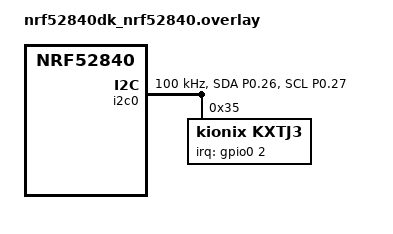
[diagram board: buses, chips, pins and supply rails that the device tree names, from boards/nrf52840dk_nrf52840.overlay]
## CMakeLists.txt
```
#
# Copyright (c) 2024  Callender Consulting LLC
#
# SPDX-License-Identifier: Apache-2.0
#
cmake_minimum_required(VERSION 3.20.)

set(BOARD xiao_ble)

find_package(Zephyr REQUIRED HINTS $ENV{ZEPHYR_BASE})
project(kxtj3_demo)

add_subdirectory(drivers)

include_directories(app PRIVATE src boards)

FILE(GLOB app_sources src/*.c)

target_sources(app PRIVATE ${app_sources})

zephyr_compile_options(-save-temps)
```

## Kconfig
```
# Copyright (c) 2024 Callender Consulting LLC
# SPDX-License-Identifier: Apache-2.0
#
rsource "drivers/Kconfig"
source "Kconfig.zephyr"
```

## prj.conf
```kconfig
CONFIG_DEBUG_OPTIMIZATIONS=y
CONFIG_STDOUT_CONSOLE=y
CONFIG_CBPRINTF_FP_SUPPORT=y

CONFIG_I2C=y

CONFIG_SENSOR=y
CONFIG_OUT_OF_TREE_SENSOR=y

CONFIG_KXTJ3=y
CONFIG_KXTJ3_MODE_DATA=y
#CONFIG_KXTJ3_MODE_ANYMODE=y
CONFIG_KXTJ3_TRIGGER_THREAD=y

CONFIG_USB_DEVICE_VID=0x2886
CONFIG_USB_DEVICE_PID=0xFFF0

#------------------------------------------------
# Logging interface: UART or RTT.
#
CONFIG_USE_SEGGER_RTT=y
CONFIG_SEGGER_RTT_MAX_NUM_UP_BUFFERS=5
CONFIG_SEGGER_RTT_MAX_NUM_DOWN_BUFFERS=5
CONFIG_SEGGER_RTT_BUFFER_SIZE_UP=2048
CONFIG_SEGGER_RTT_BUFFER_SIZE_DOWN=16
CONFIG_SEGGER_RTT_PRINTF_BUFFER_SIZE=64
CONFIG_SEGGER_RTT_MODE_NO_BLOCK_SKIP=y

CONFIG_LOG=y
CONFIG_LOG_DEFAULT_LEVEL=3
CONFIG_LOG_OVERRIDE_LEVEL=0
CONFIG_LOG_MAX_LEVEL=4
CONFIG_LOG_FUNC_NAME_PREFIX_DBG=y
CONFIG_LOG_PRINTK=y
CONFIG_LOG_MODE_OVERFLOW=y
CONFIG_LOG_PROCESS_TRIGGER_THRESHOLD=30
CONFIG_LOG_PROCESS_THREAD=y
CONFIG_LOG_PROCESS_THREAD_SLEEP_MS=1000
CONFIG_LOG_PROCESS_THREAD_STACK_SIZE=768
CONFIG_LOG_BUFFER_SIZE=2048
CONFIG_LOG_DOMAIN_ID=0

CONFIG_LOG_BACKEND_RTT=y
CONFIG_LOG_BACKEND_RTT_MODE_DROP=y
CONFIG_LOG_BACKEND_RTT_BUFFER=0
CONFIG_LOG_BACKEND_SHOW_COLOR=y
CONFIG_LOG_BACKEND_RTT_MESSAGE_SIZE=128

CONFIG_LOG_BACKEND_UART=n
CONFIG_LOG_BACKEND_FORMAT_TIMESTAMP=n
CONFIG_LOG_BACKEND_SHOW_COLOR=n
```

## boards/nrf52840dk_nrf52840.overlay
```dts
/*
 * SPDX-License-Identifier: Apache-2.0
 *
 * Copyright (c) 2024 Callender Consulting LLC
 */

#if 0
#include <kxtj3_dt_bindings.h>
#else
/* GPIO interrupt configuration */
#define KXTJ3_DT_GPIO_INT_EDGE             0
#define KXTJ3_DT_GPIO_INT_EDGE_RISING      1
#define KXTJ3_DT_GPIO_INT_EDGE_FALLING     2
#define KXTJ3_DT_GPIO_INT_LEVEL_HIGH       3
#define KXTJ3_DT_GPIO_INT_LEVEL_LOW        4

/* Any Motion mode */
#define KXTJ3_DT_ANYM_OR_COMBINATION       0
#define KXTJ3_DT_ANYM_6D_MOVEMENT          1
#define KXTJ3_DT_ANYM_AND_COMBINATION      2
#define KXTJ3_DT_ANYM_6D_POSITION          3
#endif

&pinctrl {
    i2c0_default: i2c0_default {
        group1 {
            psels = <NRF_PSEL(TWIM_SDA, 0, 26)>,
                    <NRF_PSEL(TWIM_SCL, 0, 27)>;
        };
    };

    i2c0_sleep: i2c0_sleep {
        group1 {
            psels = <NRF_PSEL(TWIM_SDA, 0, 26)>,
                    <NRF_PSEL(TWIM_SCL, 0, 27)>;
            low-power-enable;
        };
    };
};


arduino_i2c: &i2c0 {
    compatible = "nordic,nrf-twi";
    status = "okay";
    pinctrl-0 = <&i2c0_default>;
    pinctrl-1 = <&i2c0_sleep>;
    pinctrl-names = "default", "sleep";
    clock-frequency = <I2C_BITRATE_STANDARD>;

    kxtj3: kxtj3@35 {
        status = "okay";
        compatible = "kionix,kxtj3";
        reg = <0x35>;
        #io-channel-cells = <1>;
        #address-cells = <1>;
        #size-cells = <0>;
        irq-gpios = <&gpio0 2 0>;
        anym-on-int;
        anym-mode = <KXTJ3_DT_ANYM_6D_MOVEMENT>;
    };
};
```

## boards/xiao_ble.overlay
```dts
/*
 * SPDX-License-Identifier: Apache-2.0
 *
 * Copyright (c) 2024 Callender Consulting LLC
 */

#include "kxtj3_dt_symbols.h"

&pinctrl {
    i2c0_default: i2c0_default {
        group1 {
            psels = <NRF_PSEL(TWIM_SDA, 0, 4)>,
                    <NRF_PSEL(TWIM_SCL, 0, 5)>;
                    bias-pull-up;
        };
    };

    i2c0_sleep: i2c0_sleep {
        group1 {
            psels = <NRF_PSEL(TWIM_SDA, 0, 4)>,
                    <NRF_PSEL(TWIM_SCL, 0, 5)>;
            low-power-enable;
        };
    };
};


arduino_i2c: &i2c0 {
    compatible = "nordic,nrf-twi";
    status = "okay";
    pinctrl-0 = <&i2c0_default>;
    pinctrl-1 = <&i2c0_sleep>;
    pinctrl-names = "default", "sleep";
    clock-frequency = <I2C_BITRATE_STANDARD>;

    kxtj3: kxtj3@e {
        status = "okay";
        compatible = "kionix,kxtj3";
        reg = <0xe>;
        #io-channel-cells = <1>;
        #address-cells = <1>;
        #size-cells = <0>;
        accel-rate = <KXTJ3_DT_ODR_1p563_HZ>;
        accel-mode = <KXTJ3_DT_ACCEL_MODE_2G_12BIT>;
#if defined(CONFIG_KXTJ3_MODE_DATA)
        irq-gpios = <&gpio0 29 0>;
#else
        irq-gpios = <&gpio0 28 0>;
#endif
        int-gpio-config = <KXTJ3_DT_GPIO_INT_LEVEL_HIGH>;
#if defined(CONFIG_KXTJ3_MODE_ANYMODE)
        anymotion-on-int;
        anymotion-latch;
        anymotion-rate = <KXTJ3_DT_ANYMOTION_RATE_6p25_HZ>;
        anymotion-counter = <3>;
        anymotion-threshold = <512>;
#endif
    };

    /* 
     *  Alternate "Flipped" I2C address device instance used for soft reset.
     *  See Tcchnical Note TN017 for explaination of "Flipped" address.
     *
     *  In this overlay the "Normal" address is 0x0E (ADDR pin grounded), 
     *  and the "Flipped" address is 0x0C. 
     *  Alternatively, if the Normal address is 0x0F (ADDR pin at Vdd), the
     *  Flipped address will be 0x0D.
     */
    kxtj3_alt: kxtj3_alt@c {
        status = "okay";
        compatible = "kionix,kxtj3";
        reg = <0xc>;
        #io-channel-cells = <1>;
        #address-cells = <1>;
        #size-cells = <0>;
        alt_reset_dev;
    };
};
```

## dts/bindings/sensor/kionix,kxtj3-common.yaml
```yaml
# Copyright (c) 2024  Callender Consulting LLC
# SPDX-License-Identifier: Apache-2.0

include: sensor-device.yaml

description: |
    When setting the int-gpio-config and anym-mode properties
    in a .dts or .dtsi file you may include kxtj3.h and use the macros defined there.

    Example:
    #include <dts/bindings/sensor/kxtj3_dt_bindings.h>

    kxtj3: kxtj3@35 {
      ...

      int-gpio-config = <KXTJ3_DT_GPIO_INT_LEVEL_LOW>;
      anym-mode = <KXTJ3_DT_ANYM_6D_POSITION>;
    };


properties:
  irq-gpios:
    type: phandle-array
    description: |
      The INT signal connections.  These signals
      are active-high as produced by the sensor.

  int-gpio-config:
    type: int
    default: 1
    description: |
      Select the interrupt configuration for INT gpio.

      The default of 0 is the most common situation to avoid multiple interrupts
      to be triggered by same event.

      - 0 # KXTJ3_DT_GPIO_INT_EDGE
      - 1 # KXTJ3_DT_GPIO_INT_EDGE_RISING
      - 2 # KXTJ3_DT_GPIO_INT_EDGE_FALLING
      - 3 # KXTJ3_DT_GPIO_INT_LEVEL_HIGH
      - 4 # KXTJ3_DT_GPIO_INT_LEVEL_LOW

    enum: [0, 1, 2, 3, 4]

  anymotion-on-int:
    type: boolean
    description: |
      Indicates that the device driver should use interrupts
      for any movement.

  anymotion-latch:
    type: boolean
    description: |
      Enable the latching of interrupts for any-movement.

  anymotion-rate:
    type: int
    default: 4
    description: |
      Select the Output Wake-Up Function Rates.

      The default of 0 (12.5 Hz) is a reaonable values.
      Change as needed.

      - 0  # KXTJ3_DT_OWUF_0p781_HZ
      - 1  # KXTJ3_DT_OWUF_1p563_HZ
      - 2  # KXTJ3_DT_OWUF_3p125_HZ
      - 3  # KXTJ3_DT_OWUF_6p25_HZ
      - 4  # KXTJ3_DT_OWUF_12p5_HZ
      - 5  # KXTJ3_DT_OWUF_25_HZ
      - 6  # KXTJ3_DT_OWUF_50_HZ
      - 7  # KXTJ3_DT_OWUF_100_HZ

    enum: [0, 1, 2, 3, 4, 5, 6, 7]

  accel-rate:
    type: int
    default: 4
    description: |
      Select the Output Data Rate (ODR).

      The default of 4 (6.25 HZ) is a reaonable values.
      Change as needed.

      - 0  # KXTJ3_DT_ODR_0p781_HZ
      - 1  # KXTJ3_DT_ODR_1p563_HZ
      - 2  # KXTJ3_DT_ODR_3p125_HZ
      - 3  # KXTJ3_DT_ODR_6p25_HZ
      - 4  # KXTJ3_DT_ODR_12p5_HZ
      - 5  # KXTJ3_DT_ODR_25_HZ
      - 6  # KXTJ3_DT_ODR_50_HZ
      - 7  # KXTJ3_DT_ODR_100_HZ
      - 8  # KXTJ3_DT_ODR_200_HZ
      - 9  # KXTJ3_DT_ODR_400_HZ
      - 10 # KXTJ3_DT_ODR_800_HZ
      - 11 # KXTJ3_DT_ODR_1600_HZ

    enum: [0, 1, 2, 3, 4, 5, 6, 7, 8, 9, 10, 11]

  anymotion-counter:
    type: int
    default: 1
    description: |
      Select the number of anymotion-rate cycle to trigger Wake-Up event.
      Example:  "anymotion-counter = <5>"  to wait five accel-rate period 
                before triggering.
      Valid range: 1 - 255  

  anymotion-threshold:
    type: int
    default: 2048
    description: |
      Select the amount of acceleration (Gs) in order to trigger a Wake-Up event.
      Valid range: 1 - 16383  (14-bits max.)

  accel-mode:
    type: int
    default: 1
    description: |
      Select the performance mode.

      The default of 1 (2G, 12-BIT) is a reaonable values.
      Change as needed.

      - 0 # KXTJ3_DT_ACCEL_MODE_2G_8BIT
      - 1 # KXTJ3_DT_ACCEL_MODE_2G_12BIT
      - 2 # KXTJ3_DT_ACCEL_MODE_4G_8BIT
      - 3 # KXTJ3_DT_ACCEL_MODE_4G_12BIT
      - 4 # KXTJ3_DT_ACCEL_MODE_8G_8BIT
      - 5 # KXTJ3_DT_ACCEL_MODE_8G_12BIT
      - 6 # KXTJ3_DT_ACCEL_MODE_16G_8BIT
      - 7 # KXTJ3_DT_ACCEL_MODE_16G_12BIT
      - 8 # KXTJ3_DT_ACCEL_MODE_16G_14BIT

    enum: [0, 1, 2, 3, 4, 5, 6, 7, 8]

  alt_reset_dev:
    type: boolean
    description: |
      Indicate this device instance is for soft-reset usage.
```

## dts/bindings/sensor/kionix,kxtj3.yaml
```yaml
# Copyright (c) 2024 Callender Consulting LLC
# SPDX-License-Identifier: Apache-2.0

description: |
    Kionix KXTJ3-1057 3-axis accelerometer accessed through I2C bus

compatible: "kionix,kxtj3"

include: ["i2c-device.yaml"]

# Copyright (c) 2024  Callender Consulting LLC
# SPDX-License-Identifier: Apache-2.0

include: sensor-device.yaml

description: |
    When setting the int-gpio-config and anym-mode properties
    in a .dts or .dtsi file you may include kxtj3.h and use the macros defined there.

    Example:
    #include <dts/bindings/sensor/kxtj3_dt_bindings.h>

    kxtj3: kxtj3@35 {
      ...

      int-gpio-config = <KXTJ3_DT_GPIO_INT_LEVEL_LOW>;
      anym-mode = <KXTJ3_DT_ANYM_6D_POSITION>;
    };


properties:
  irq-gpios:
    type: phandle-array
    description: |
      The INT signal connections.  These signals
      are active-high as produced by the sensor.

  int-gpio-config:
    type: int
    default: 1
    description: |
      Select the interrupt configuration for INT gpio.

      The default of 0 is the most common situation to avoid multiple interrupts
      to be triggered by same event.

      - 0 # KXTJ3_DT_GPIO_INT_EDGE
      - 1 # KXTJ3_DT_GPIO_INT_EDGE_RISING
      - 2 # KXTJ3_DT_GPIO_INT_EDGE_FALLING
      - 3 # KXTJ3_DT_GPIO_INT_LEVEL_HIGH
      - 4 # KXTJ3_DT_GPIO_INT_LEVEL_LOW

    enum: [0, 1, 2, 3, 4]

  anymotion-on-int:
    type: boolean
    description: |
      Indicates that the device driver should use interrupts
      for any movement.

  anymotion-latch:
    type: boolean
    description: |
      Enable the latching of interrupts for any-movement.

  anymotion-rate:
    type: int
    default: 4
    description: |
      Select the Output Wake-Up Function Rates.

      The default of 0 (12.5 Hz) is a reaonable values.
      Change as needed.

      - 0  # KXTJ3_DT_OWUF_0p781_HZ
      - 1  # KXTJ3_DT_OWUF_1p563_HZ
      - 2  # KXTJ3_DT_OWUF_3p125_HZ
      - 3  # KXTJ3_DT_OWUF_6p25_HZ
      - 4  # KXTJ3_DT_OWUF_12p5_HZ
      - 5  # KXTJ3_DT_OWUF_25_HZ
      - 6  # KXTJ3_DT_OWUF_50_HZ
      - 7  # KXTJ3_DT_OWUF_100_HZ

    enum: [0, 1, 2, 3, 4, 5, 6, 7]

  accel-rate:
    type: int
    default: 4
    description: |
      Select the Output Data Rate (ODR).

      The default of 4 (6.25 HZ) is a reaonable values.
      Change as needed.

      - 0  # KXTJ3_DT_ODR_0p781_HZ
      - 1  # KXTJ3_DT_ODR_1p563_HZ
      - 2  # KXTJ3_DT_ODR_3p125_HZ
      - 3  # KXTJ3_DT_ODR_6p25_HZ
      - 4  # KXTJ3_DT_ODR_12p5_HZ
      - 5  # KXTJ3_DT_ODR_25_HZ
      - 6  # KXTJ3_DT_ODR_50_HZ
      - 7  # KXTJ3_DT_ODR_100_HZ
      - 8  # KXTJ3_DT_ODR_200_HZ
      - 9  # KXTJ3_DT_ODR_400_HZ
      - 10 # KXTJ3_DT_ODR_800_HZ
      - 11 # KXTJ3_DT_ODR_1600_HZ

    enum: [0, 1, 2, 3, 4, 5, 6, 7, 8, 9, 10, 11]

  anymotion-counter:
    type: int
    default: 1
    description: |
      Select the number of anymotion-rate cycle to trigger Wake-Up event.
      Example:  "anymotion-counter = <5>"  to wait five accel-rate period 
                before triggering.
      Valid range: 1 - 255  

  anymotion-threshold:
    type: int
    default: 2048
    description: |
      Select the amount of acceleration (Gs) in order to trigger a Wake-Up event.
      Valid range: 1 - 16383  (14-bits max.)

  accel-mode:
    type: int
    default: 1
    description: |
      Select the performance mode.

      The default of 1 (2G, 12-BIT) is a reaonable values.
      Change as needed.

      - 0 # KXTJ3_DT_ACCEL_MODE_2G_8BIT
      - 1 # KXTJ3_DT_ACCEL_MODE_2G_12BIT
      - 2 # KXTJ3_DT_ACCEL_MODE_4G_8BIT
      - 3 # KXTJ3_DT_ACCEL_MODE_4G_12BIT
      - 4 # KXTJ3_DT_ACCEL_MODE_8G_8BIT
      - 5 # KXTJ3_DT_ACCEL_MODE_8G_12BIT
      - 6 # KXTJ3_DT_ACCEL_MODE_16G_8BIT
      - 7 # KXTJ3_DT_ACCEL_MODE_16G_12BIT
      - 8 # KXTJ3_DT_ACCEL_MODE_16G_14BIT

    enum: [0, 1, 2, 3, 4, 5, 6, 7, 8]

  alt_reset_dev:
    type: boolean
    description: |
      Indicate this device instance is for soft-reset usage.
```

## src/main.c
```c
/*
 * Copyright (c) 2024 Callender Consulting lLC
 *
 * SPDX-License-Identifier: Apache-2.0
 */

#include <stdio.h>
#include <zephyr/kernel.h>
#include <zephyr/device.h>
#include <zephyr/drivers/sensor.h>

#include "kxtj3_dt_symbols.h"

#include <zephyr/logging/log.h>
LOG_MODULE_REGISTER(main);


void fetch_and_display(const struct device *sensor)
{
    static unsigned int count;
    struct sensor_value accel[3];
    const char *overrun = "";
    int rc = sensor_sample_fetch(sensor);

    ++count;
    if (rc == -EBADMSG) {
        /* Sample overrun.  Ignore in polled mode. */
        if (IS_ENABLED(CONFIG_KXTJ3_TRIGGER)) {
            overrun = "[OVERRUN] ";
        }
        rc = 0;
    }
    if (rc == 0) {
        rc = sensor_channel_get(sensor, SENSOR_CHAN_ACCEL_XYZ, accel);
    }
    if (rc < 0) {
        LOG_ERR("ERROR: Update failed: %d", rc);
    }
    else {
#if 1
        LOG_INF("#%u @ %u ms: %sx %f , y %f , z %f",
               count, k_uptime_get_32(), overrun,
               sensor_value_to_double(&accel[0]),
               sensor_value_to_double(&accel[1]),
               sensor_value_to_double(&accel[2]));
#endif
    }
}

#ifdef CONFIG_KXTJ3_TRIGGER

#if defined(CONFIG_KXTJ3_MODE_ANYMODE)

static void trigger_anymotion_callback(const struct device *dev,
                const struct sensor_trigger *trig)
{
    LOG_INF("%s", __func__);
}

#else // defined(CONFIG_KXTJ3_MODE_DATA)
static void trigger_data_callback(const struct device *dev,
                const struct sensor_trigger *trig)
{
    LOG_DBG("%s", __func__);

    fetch_and_display(dev);
}
#endif // defined(CONFIG_KXTJ3_MODE_ANYMODE)

#endif // CONFIG_KXTJ3_TRIGGER

int main(void)
{
    const struct device *const sensor = DEVICE_DT_GET_ANY(kionix_kxtj3);

    if (sensor == NULL) {
        LOG_INF("No device found");
        return 0;
    }
    if (!device_is_ready(sensor)) {
        LOG_INF("Device %s is not ready", sensor->name);
        return 0;
    }

#if CONFIG_KXTJ3_TRIGGER
    {
        struct sensor_trigger trig;
        int rc;
#if defined(CONFIG_KXTJ3_MODE_ANYMODE)
        /* Any-Motion output */
        trig.type = SENSOR_TRIG_DELTA;
        trig.chan = 0;

        rc = sensor_trigger_set(sensor, &trig, trigger_anymotion_callback);
        if (rc != 0) {
            LOG_ERR("Failed to set trigger: %d", rc);
            return 0;
        }
  #else // defined(CONFIG_KXTJ3_MODE_DATA)
        /* normal x,y,z output */
        trig.type = SENSOR_TRIG_DATA_READY;
        trig.chan = SENSOR_CHAN_ACCEL_XYZ;

        rc = sensor_trigger_set(sensor, &trig, trigger_data_callback);
        if (rc != 0) {
            LOG_ERR("Failed to set trigger: %d", rc);
            return 0;
        }
#endif // defined(CONFIG_KXTJ3_MODE_ANYMODE)

        LOG_INF("Waiting for triggers");
        while (true) {
            k_sleep(K_MSEC(2000));
        }
    }
#else /* CONFIG_KXTJ3_TRIGGER */
    LOG_INF("Polling at 0.5 Hz");
    while (true) {
        fetch_and_display(sensor);
        k_sleep(K_MSEC(2000));
    }
#endif /* CONFIG_KXTJ3_TRIGGER */
}
```
